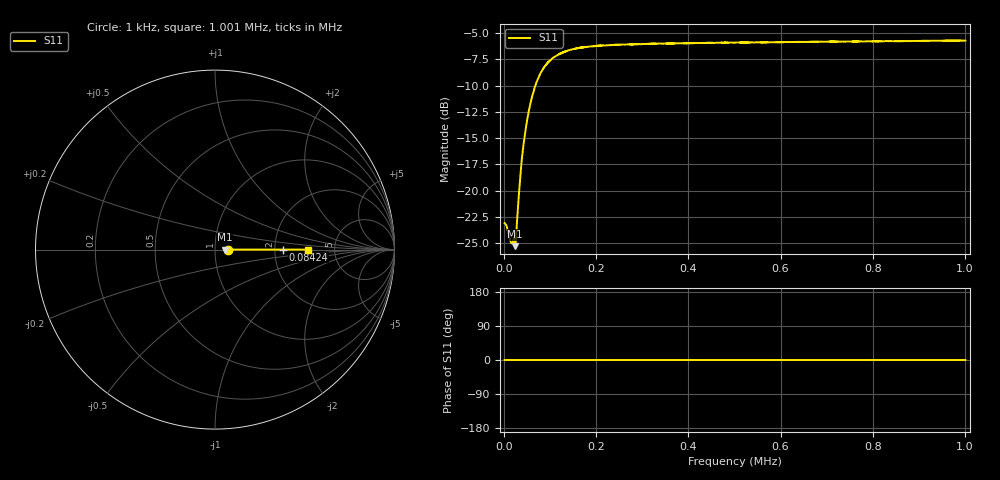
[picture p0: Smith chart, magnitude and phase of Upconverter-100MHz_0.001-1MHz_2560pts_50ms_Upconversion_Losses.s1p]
! ListType=Lin
! Comment=Upconverter_100MHz_0.001-1MHz_2560pts_50ms
# MHz S DB R 50
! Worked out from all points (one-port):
!   2560 points, 1 kHz to 1.001 MHz, reference 50 ohm
!   lowest |S11| = -25.3 dB at 24.06 kHz (marker M1), VSWR 1.11, Z = 55.7 + j0 ohm
!   |S11| at or under -10 dB: start of sweep to 67.76 kHz
!   S11 on the Smith chart (normalised r, x): 1 kHz: 1.15, +0.00; 84.24 kHz: 2.23, +0.00; 1.001 MHz: 3.15, +0.00
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0.001  -23.08 0.0
0.0052986  -23.35 0.0
0.0119418  -24.59 0.0
0.015068  -24.98 0.0
0.0209297  -24.49 0.0
0.0224928  -24.75 0.0
0.0240559  -25.29 0.0
0.0260098  -24.33 0.0
0.0275729  -23.21 0.0
0.0338253  -19.28 0.0
0.0385147  -16.90 0.0
0.0428132  -15.35 0.0
0.0486749  -13.60 0.0
0.0560996  -11.87 0.0
0.064306  -10.47 0.0
0.0736846  -9.31 0.0
0.0842356  -8.41 0.0
0.102993  -7.48 0.0
0.1260488  -6.85 0.0
0.1459785  -6.56 0.0
0.1741145  -6.33 0.0
0.2510977  -6.08 0.0
0.3761465  -5.95 0.0
0.5011954  -5.89 0.0
0.6262442  -5.83 0.0
0.7512931  -5.79 0.0
0.8763419  -5.76 0.0
1.001  -5.70 0.0
